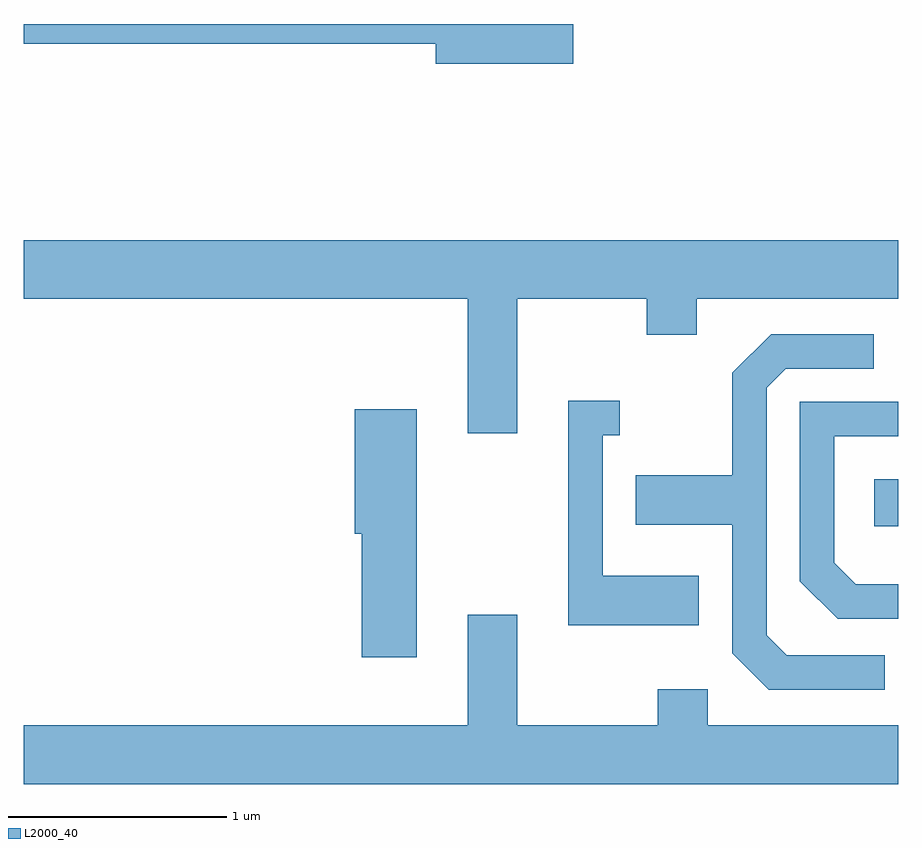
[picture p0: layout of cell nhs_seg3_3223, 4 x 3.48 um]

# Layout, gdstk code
import gdstk
lib = gdstk.Library(unit=1e-6, precision=1e-09)
def R(c, l, rs):  # rectangles x0, y0, x1, y1
    for r in rs: c.add(gdstk.rectangle(r[:2], r[2:], *l))
def P(c, l, *ps):  # polygons
    for p in ps: c.add(gdstk.Polygon(p, *l))
L2000_40 = (2000, 40)

nhs_seg3_3223 = lib.new_cell('nhs_seg3_3223')
R(nhs_seg3_3223, L2000_40, [(283.501,1171.596,283.611,1171.809)])
P(nhs_seg3_3223, L2000_40, [(282.124,1173.892),(279.611,1173.892),(279.611,1173.801),(281.496,1173.801),(281.496,1173.711),(282.124,1173.711)],
  [(281.869,1172.636),(282.461,1172.636),(282.461,1172.471),(282.689,1172.471),(282.689,1172.636),(283.611,1172.636),(283.611,1172.904),(279.611,1172.904),(279.611,1172.636),(281.641,1172.636),(281.641,1172.021),(281.869,1172.021)],
  [(283.548,1171.004),(283.102,1171.004),(283.009,1171.097),(283.009,1172.229),(283.097,1172.316),(283.498,1172.316),(283.498,1172.474),(283.029,1172.474),(282.851,1172.297),(282.851,1171.829),(282.411,1171.829),(282.411,1171.601),(282.851,1171.601),(282.851,1171.014),(283.019,1170.846),(283.548,1170.846)],
  [(282.699,1171.369),(282.259,1171.369),(282.259,1172.011),(282.338,1172.011),(282.338,1172.169),(282.101,1172.169),(282.101,1171.141),(282.699,1171.141)],
  [(283.611,1171.329),(283.417,1171.329),(283.319,1171.427),(283.319,1172.006),(283.611,1172.006),(283.611,1172.164),(283.161,1172.164),(283.161,1171.344),(283.334,1171.171),(283.611,1171.171)],
  [(281.409,1172.129),(281.126,1172.129),(281.126,1171.561),(281.156,1171.561),(281.156,1170.996),(281.409,1170.996)],
  [(283.611,1170.684),(282.739,1170.684),(282.739,1170.849),(282.511,1170.849),(282.511,1170.684),(281.869,1170.684),(281.869,1171.189),(281.641,1171.189),(281.641,1170.684),(279.611,1170.684),(279.611,1170.416),(283.611,1170.416)])

lib.write_gds('nhs_seg3_3223.gds')
